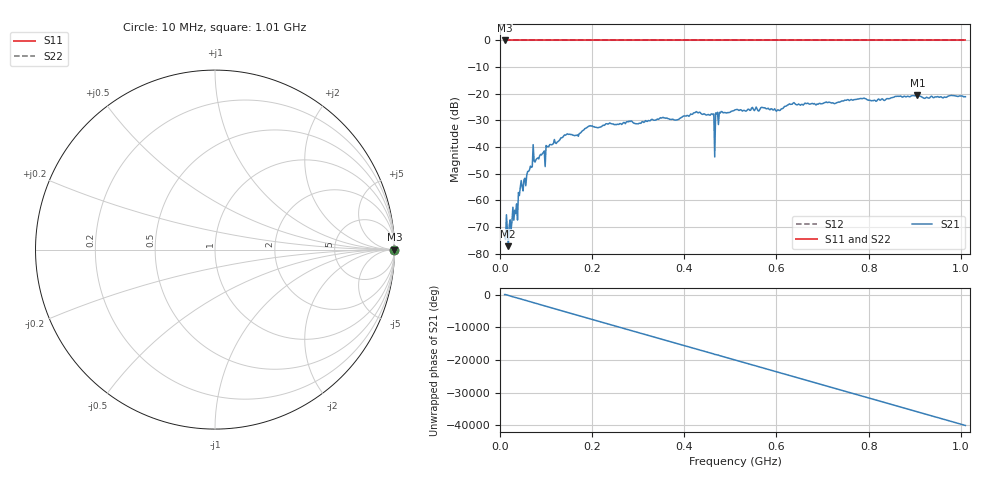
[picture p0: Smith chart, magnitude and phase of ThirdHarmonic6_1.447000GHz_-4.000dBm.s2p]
! 8/16/2025 4:45:23 PM
! C:\ANRITSUVNA\TEMP\TEMP.S2P
! CHANNEL.1
! TR.MEASUREMENT
! RAW.DATA
! RF.CORRECTION.OFF
! AVERAGING.OFF
! IF.BANDWIDTH: 5KHZ
! SWEEPTYPE:  FREQ.SWEEP(Linear)
! Reference Plane Port Info
! PORT:  PORT1  PORT2
! DISTANCE:  0  m  0  m
! TIME:  0  s  0  s
! PHASE.OFFSET:  0  deg.  0  deg.
! LOSS:  0  dB  0  dB
! REF.LOSS:  0  dB  0  dB
! REF.FREQ:  0  Hz  0  Hz
! Power Info
! POWER:  -20  dBm  -20  dBm
! EFF.POWER:  -20  dBm  -20  dBm
! SOURCE.ATTEN:  0  dB  0  dB
! TEST.ATTEN:  0  dB  0  dB
# GHZ S RI R 50.0
! FREQ.GHZ  S11RE  S11IM  S21RE  S21IM  S12RE  S12IM  S22RE  S22IM
!; PortSelection: Port_12
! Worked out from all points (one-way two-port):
!   501 points, 10 MHz to 1.01 GHz, reference 50 ohm
!   highest |S21| = -20.61 dB at 906 MHz (marker M1); lowest = -77.2 dB at 18 MHz (marker M2)
!   lowest |S11| = 0.0 dB at 10 MHz (marker M3)
!   |S11| at or under -10 dB: nowhere
!   |S22| runs from 0.0 to 0.0 dB; largest |S21 - S12| = 1.1
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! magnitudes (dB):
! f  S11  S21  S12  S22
! 10 MHz  0.0  -72.4  0.0  0.0
! 18 MHz  0.0  -77.2  0.0  0.0
! 20 MHz  0.0  -69.6  0.0  0.0
! 32 MHz  0.0  -63.7  0.0  0.0
! 34 MHz  0.0  -65.0  0.0  0.0
! 44 MHz  0.0  -55.2  0.0  0.0
! 76 MHz  0.0  -45.6  0.0  0.0
! 94 MHz  0.0  -42.0  0.0  0.0
! 142 MHz  0.0  -35.5  0.0  0.0
! 178 MHz  0.0  -34.0  0.0  0.0
! 344 MHz  0.0  -29.6  0.0  0.0
! 430 MHz  0.0  -27.2  0.0  0.0
! 460 MHz  0.0  -27.5  0.0  0.0
! 462 MHz  0.0  -27.8  0.0  0.0
! 470 MHz  0.0  -27.5  0.0  0.0
! 472 MHz  0.0  -27.0  0.0  0.0
! 480 MHz  0.0  -26.7  0.0  0.0
! 510 MHz  0.0  -26.1  0.0  0.0
! 678 MHz  0.0  -23.6  0.0  0.0
! 844 MHz  0.0  -21.9  0.0  0.0
! 906 MHz  0.0  -20.6  0.0  0.0
! 1.01 GHz  0.0  -21.1  0.0  0.0
